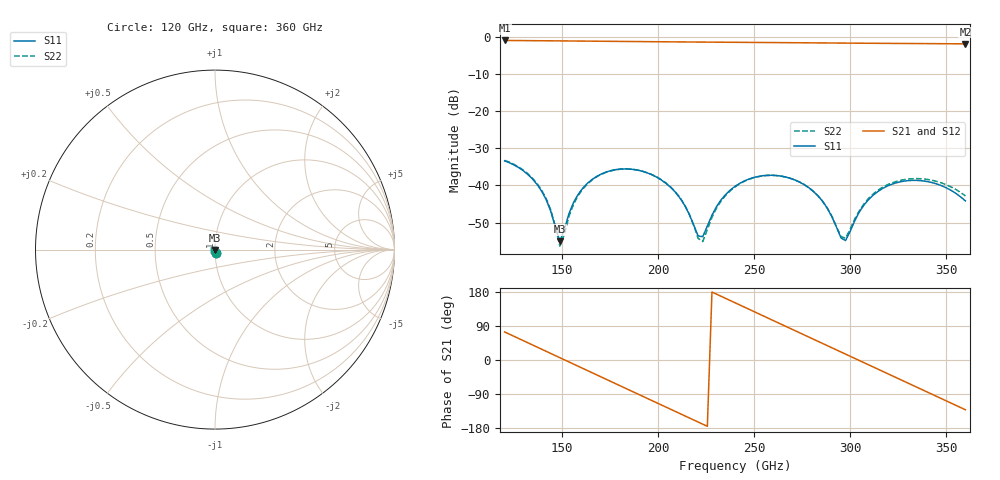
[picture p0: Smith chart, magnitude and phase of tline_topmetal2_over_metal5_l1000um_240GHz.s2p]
#  GHZ S DB R 50
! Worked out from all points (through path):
!   101 points, 120 GHz to 360 GHz, reference 50 ohm
!   highest |S21| = -1.05 dB at 120 GHz (marker M1); lowest = -2.0 dB at 360 GHz (marker M2)
!   group delay of S21, straight-line fit = 6.54 ps
!   lowest |S11| = -55.0 dB at 148.8 GHz (marker M3), VSWR 1.00, Z = 50.1 - j0.142 ohm
!   |S11| at or under -10 dB: start of sweep to end of sweep
!   |S22| runs from -56.4 to -33.3 dB; largest |S21 - S12| = 9.9e-14
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120  -33.42 -70.1  -1.05 74.1  -1.05 74.1  -33.28 -71.2
132  -37.03 -94.4  -1.10 45.7  -1.10 45.7  -36.85 -96.1
139.2  -41.48 -105.9  -1.13 28.7  -1.13 28.7  -41.24 -108.7
144  -46.88 -106.1  -1.15 17.4  -1.15 17.4  -46.57 -111.2
148.8  -55.00 -53.1  -1.17 6.0  -1.17 6.0  -56.36 -64.2
156  -44.52 5.6  -1.20 -11.0  -1.20 -11.0  -44.97 7.1
160.8  -40.71 0.7  -1.22 -22.3  -1.22 -22.3  -40.94 1.6
170.4  -36.94 -17.6  -1.26 -45.0  -1.26 -45.0  -37.03 -17.3
182.4  -35.58 -43.5  -1.32 -73.3  -1.32 -73.3  -35.60 -43.7
201.6  -38.55 -83.6  -1.40 -118.5  -1.40 -118.5  -38.48 -84.7
211.2  -43.33 -97.9  -1.44 -141.1  -1.44 -141.1  -43.20 -100.3
220.8  -53.61 -67.9  -1.48 -163.7  -1.48 -163.7  -54.26 -75.6
223.2  -53.80 -32.4  -1.49 -169.4  -1.49 -169.4  -55.12 -35.2
230.4  -45.70 0.7  -1.51 173.7  -1.51 173.7  -46.10 2.3
240  -40.27 -11.2  -1.55 151.1  -1.55 151.1  -40.42 -10.4
261.6  -37.36 -59.7  -1.62 100.2  -1.62 100.2  -37.38 -59.7
280.8  -41.62 -111.9  -1.70 55.0  -1.70 55.0  -41.60 -112.7
297.6  -54.86 115.2  -1.76 15.5  -1.76 15.5  -54.22 113.4
307.2  -45.28 32.3  -1.79 -7.1  -1.79 -7.1  -44.95 32.5
321.6  -39.72 -14.7  -1.84 -41.0  -1.84 -41.0  -39.37 -15.0
340.8  -39.04 -70.2  -1.90 -86.1  -1.90 -86.1  -38.46 -70.7
360  -44.18 -137.7  -1.96 -131.3  -1.96 -131.3  -42.84 -136.2
